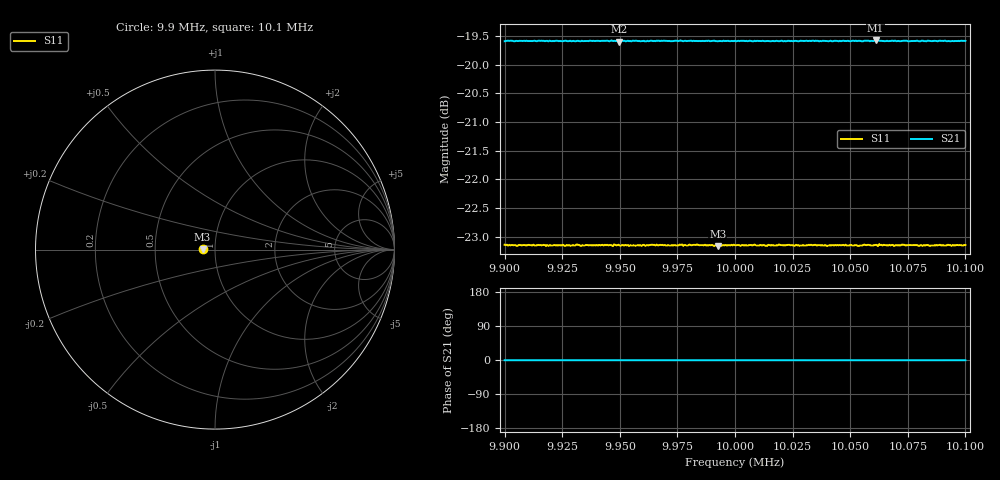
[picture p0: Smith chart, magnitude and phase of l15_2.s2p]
! NanoVNA-App
! Date: 2026-10-13 22:14:35
! Start: 9,9MHz Stop: 10,1MHz Points: 401
! S-Parameter data: F S11 S21 S12 S22
# Hz S RI R 50
!  Frequency  S11_Real  S11_Imag  S21_Real  S21_Imag  S12_Real  S12_Imag  S22_Real  S22_Imag
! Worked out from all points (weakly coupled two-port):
!   401 points, 9.9 MHz to 10.1 MHz, reference 50 ohm
!   highest |S21| = -19.58 dB at 10.061 MHz (marker M1); lowest = -19.6 dB at 9.9495 MHz (marker M2)
!   lowest |S11| = -23.2 dB at 9.9925 MHz (marker M3), VSWR 1.15, Z = 43.5 + j0.349 ohm
!   |S11| at or under -10 dB: start of sweep to end of sweep
!   S12 and S22 are empty: the file has one direction only
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9900000  -0.0696 0.00393  0.1048 -0.00115  0 0  0 0
9919000  -0.0694 0.00393  0.1048 -0.00111  0 0  0 0
9929500  -0.0695 0.00392  0.1048 -0.0011  0 0  0 0
9931500  -0.0696 0.00396  0.1049 -0.00115  0 0  0 0
9933500  -0.0694 0.00397  0.1049 -0.00112  0 0  0 0
9948500  -0.0695 0.00388  0.1048 -0.00104  0 0  0 0
9949500  -0.0696 0.00394  0.1047 -0.00113  0 0  0 0
9967000  -0.0695 0.00395  0.1049 -0.00115  0 0  0 0
9978500  -0.0695 0.00399  0.1049 -0.00116  0 0  0 0
9983000  -0.0695 0.00396  0.1048 -0.00114  0 0  0 0
9991500  -0.0695 0.00387  0.1048 -0.00111  0 0  0 0
9992500  -0.0694 0.004  0.1048 -0.00109  0 0  0 0
1e7  -0.0695 0.00394  0.1049 -0.00108  0 0  0 0
1.0029e7  -0.0695 0.00386  0.1049 -0.00117  0 0  0 0
1.00335e7  -0.0695 0.00388  0.1049 -0.00108  0 0  0 0
1.00395e7  -0.0695 0.00391  0.1048 -0.00119  0 0  0 0
1.0047e7  -0.0695 0.00386  0.1049 -0.00113  0 0  0 0
1.0054e7  -0.0694 0.00391  0.1049 -0.00117  0 0  0 0
1.0057e7  -0.0695 0.00384  0.1049 -0.00119  0 0  0 0
1.0061e7  -0.0695 0.00391  0.1049 -0.00118  0 0  0 0
1.0067e7  -0.0695 0.00386  0.1048 -0.00113  0 0  0 0
1.01e7  -0.0695 0.00388  0.1048 -0.00109  0 0  0 0
